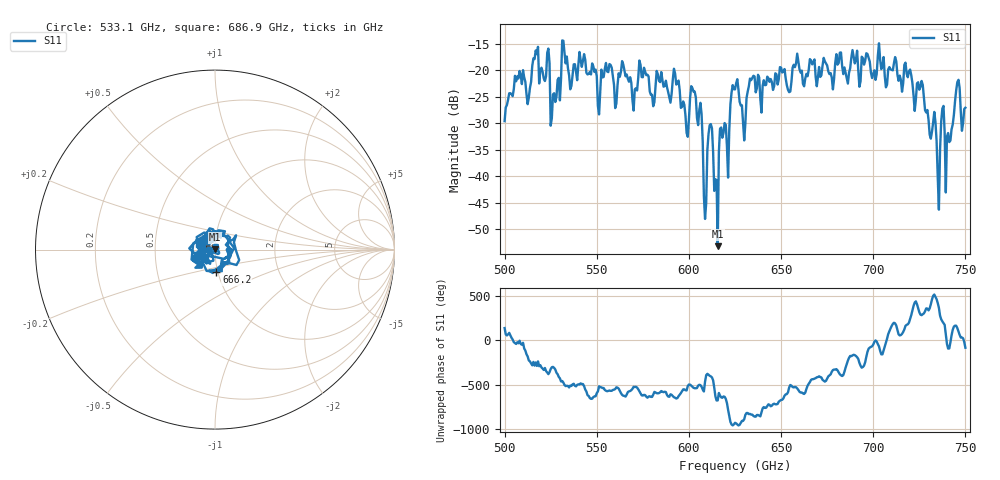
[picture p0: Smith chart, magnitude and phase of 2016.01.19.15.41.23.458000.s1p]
!Created with skrf (http://scikit-rf.org).
# GHz S RI R 50.0
!freq ReS11 ImS11
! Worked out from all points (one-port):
!   401 points, 500 GHz to 750 GHz, reference 50 ohm
!   lowest |S11| = -53.2 dB at 615.6 GHz (marker M1), VSWR 1.00, Z = 50.2 + j0.149 ohm
!   |S11| at or under -10 dB: start of sweep to end of sweep
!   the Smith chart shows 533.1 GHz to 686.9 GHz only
!   S11 on the Smith chart (normalised r, x): 533.1 GHz: 0.80, -0.08; 666.2 GHz: 0.98, -0.25; 686.9 GHz: 0.83, +0.05
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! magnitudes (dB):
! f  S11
! 500 GHz  -29.6
! 506.9 GHz  -21.1
! 513.1 GHz  -25.2
! 516.9 GHz  -16.3
! 526.2 GHz  -24.5
! 531.2 GHz  -14.4
! 533.1 GHz  -18.7
! 562.5 GHz  -21.2
! 593.8 GHz  -22.4
! 598.8 GHz  -31.8
! 602.5 GHz  -24.0
! 606.2 GHz  -26.1
! 608.8 GHz  -48.0
! 611.2 GHz  -30.4
! 615.6 GHz  -53.2
! 625 GHz  -23.6
! 629.4 GHz  -30.0
! 634.4 GHz  -21.4
! 656.2 GHz  -19.5
! 666.2 GHz  -18.1
! 686.9 GHz  -20.4
! 687.5 GHz  -19.6
! 718.8 GHz  -21.3
! 735 GHz  -40.1
! 737.5 GHz  -27.2
! 740.6 GHz  -31.8
! 745.6 GHz  -22.2
! 750 GHz  -27.1
